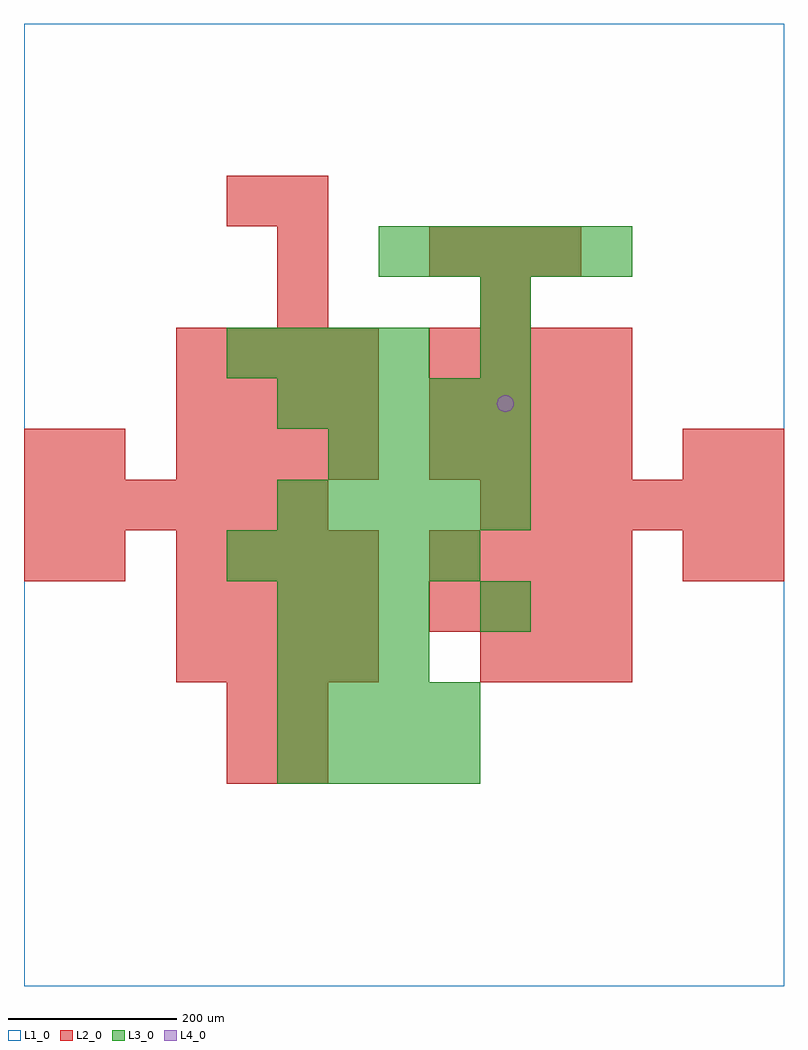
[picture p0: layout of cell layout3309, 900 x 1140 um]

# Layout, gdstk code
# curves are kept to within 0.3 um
import gdstk
lib = gdstk.Library(unit=1e-6, precision=1e-09)
def R(c, l, rs):  # rectangles x0, y0, x1, y1
    for r in rs: c.add(gdstk.rectangle(r[:2], r[2:], *l))
def A(c, l, x, y, w, h, nx, ny, dx, dy):  # array of equal rectangles
    R(c, l, [(x+i*dx, y+j*dy, x+i*dx+w, y+j*dy+h) for i in range(nx) for j in range(ny)])
def P(c, l, *ps):  # polygons
    for p in ps: c.add(gdstk.Polygon(p, *l))
L1_0 = (1, 0)
L2_0 = (2, 0)
L3_0 = (3, 0)
L4_0 = (4, 0)

layout3309 = lib.new_cell('layout3309')
R(layout3309, L1_0, [(0,0,900,1140)])
A(layout3309, L2_0, 180, 360, 60, 60, 4, 3, 60, 60)
A(layout3309, L2_0, 540, 360, 60, 60, 3, 1, 60, 0)
A(layout3309, L2_0, 480, 420, 60, 60, 4, 2, 60, 60)
A(layout3309, L2_0, 0, 540, 60, 60, 6, 1, 60, 0)
A(layout3309, L2_0, 540, 540, 60, 60, 6, 1, 60, 0)
A(layout3309, L2_0, 180, 600, 60, 60, 4, 3, 60, 60)
A(layout3309, L2_0, 480, 600, 60, 60, 4, 3, 60, 60)
A(layout3309, L2_0, 300, 780, 60, 60, 1, 3, 0, 60)
A(layout3309, L2_0, 480, 840, 60, 60, 3, 1, 60, 0)
R(layout3309, L2_0, [(240,240,300,300), (300,240,360,300), (240,300,300,360), (300,300,360,360), (0,480,60,540), (60,480,120,540), (780,480,840,540), (840,480,900,540), (0,600,60,660), (60,600,120,660), (780,600,840,660), (840,600,900,660), (540,780,600,840), (240,900,300,960)])
A(layout3309, L3_0, 300, 240, 60, 60, 4, 2, 60, 60)
A(layout3309, L3_0, 300, 360, 60, 60, 3, 2, 60, 60)
A(layout3309, L3_0, 240, 480, 60, 60, 5, 1, 60, 0)
A(layout3309, L3_0, 300, 540, 60, 60, 5, 2, 60, 120)
A(layout3309, L3_0, 360, 600, 60, 60, 4, 1, 60, 0)
A(layout3309, L3_0, 240, 720, 60, 60, 4, 1, 60, 0)
A(layout3309, L3_0, 420, 840, 60, 60, 5, 1, 60, 0)
R(layout3309, L3_0, [(540,420,600,480), (540,720,600,780), (540,780,600,840)])
P(layout3309, L4_0, [(580,690),(579.239,693.827),(577.071,697.071),(573.827,699.239),(570,700),(566.173,699.239),(562.929,697.071),(560.761,693.827),(560,690),(560.761,686.173),(562.929,682.929),(566.173,680.761),(570,680),(573.827,680.761),(577.071,682.929),(579.239,686.173)])

lib.write_gds('layout3309.gds')
